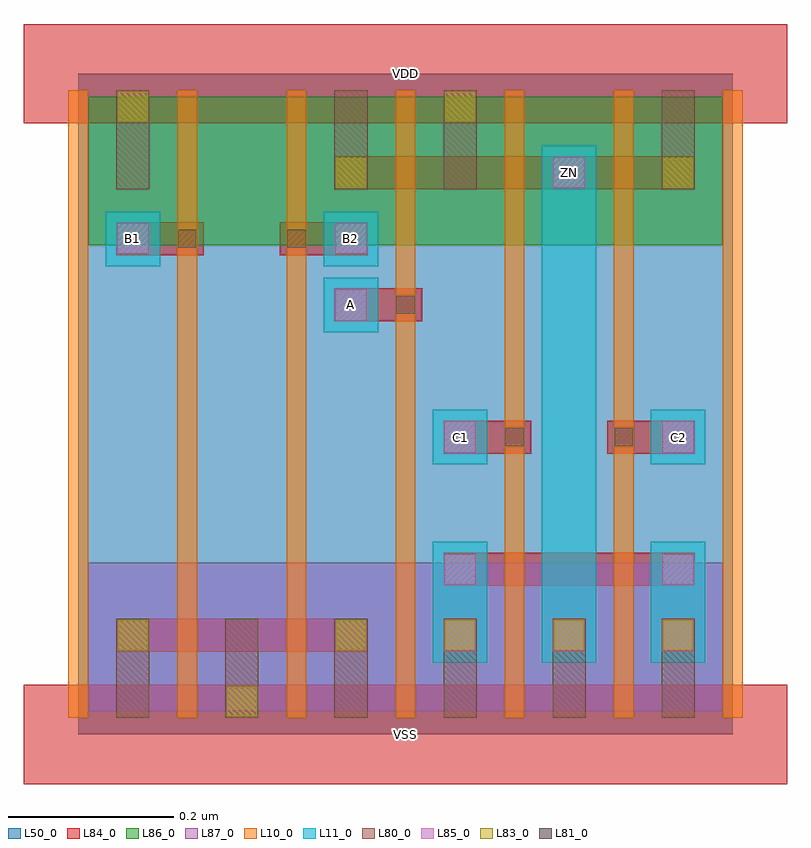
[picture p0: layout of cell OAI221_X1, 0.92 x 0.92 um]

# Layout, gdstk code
import gdstk
lib = gdstk.Library(unit=1e-6, precision=1e-09)
def R(c, l, rs):  # rectangles x0, y0, x1, y1
    for r in rs: c.add(gdstk.rectangle(r[:2], r[2:], *l))
def A(c, l, x, y, w, h, nx, ny, dx, dy):  # array of equal rectangles
    R(c, l, [(x+i*dx, y+j*dy, x+i*dx+w, y+j*dy+h) for i in range(nx) for j in range(ny)])
L10_0 = (10, 0)
L11_0 = (11, 0)
L50_0 = (50, 0)
L80_0 = (80, 0)
L81_0 = (81, 0)
L83_0 = (83, 0)
L84_0 = (84, 0)
L85_0 = (85, 0)
L86_0 = (86, 0)
L87_0 = (87, 0)

oai221_x1 = lib.new_cell('OAI221_X1')
A(oai221_x1, L10_0, -0.012, 0.02, 0.024, 0.76, 7, 1, 0.132, 0)
R(oai221_x1, L11_0, [(0.429,0.087,0.495,0.233), (0.561,0.087,0.627,0.713), (0.693,0.087,0.759,0.233), (0.429,0.327,0.495,0.393), (0.693,0.327,0.759,0.393), (0.297,0.487,0.363,0.553), (0.033,0.567,0.099,0.633), (0.297,0.567,0.363,0.633)])
R(oai221_x1, L50_0, [(0,0,0.792,0.8)])
A(oai221_x1, L80_0, 0.046, 0.02, 0.04, 0.12, 6, 1, 0.132, 0)
R(oai221_x1, L80_0, [(0.046,0.66,0.086,0.78), (0.31,0.66,0.35,0.78), (0.442,0.66,0.482,0.78), (0.706,0.66,0.746,0.78)])
R(oai221_x1, L81_0, [(0.517,0.349,0.539,0.371), (0.649,0.349,0.671,0.371), (0.385,0.509,0.407,0.531), (0.121,0.589,0.143,0.611), (0.253,0.589,0.275,0.611)])
A(oai221_x1, L83_0, 0.312, 0.102, 0.036, 0.036, 4, 1, 0.132, 0)
R(oai221_x1, L83_0, [(0.18,0.022,0.216,0.058), (0.048,0.102,0.084,0.138), (0.312,0.662,0.348,0.698), (0.708,0.662,0.744,0.698), (0.048,0.742,0.084,0.778), (0.444,0.742,0.48,0.778)])
A(oai221_x1, L84_0, 0.442, 0.1, 0.04, 0.04, 3, 1, 0.132, 0)
R(oai221_x1, L84_0, [(-0.066,-0.06,0.858,0.06), (0.046,0.1,0.35,0.14), (0.442,0.18,0.746,0.22), (0.442,0.34,0.548,0.38), (0.64,0.34,0.746,0.38), (0.31,0.5,0.416,0.54), (0.046,0.58,0.152,0.62), (0.244,0.58,0.35,0.62), (0.31,0.66,0.746,0.7), (-0.066,0.74,0.858,0.86)])
A(oai221_x1, L85_0, 0.443, 0.101, 0.038, 0.038, 3, 1, 0.132, 0)
R(oai221_x1, L85_0, [(0.443,0.181,0.481,0.219), (0.707,0.181,0.745,0.219), (0.443,0.341,0.481,0.379), (0.707,0.341,0.745,0.379), (0.311,0.501,0.349,0.539), (0.047,0.581,0.085,0.619), (0.311,0.581,0.349,0.619), (0.575,0.661,0.613,0.699)])
R(oai221_x1, L86_0, [(0.012,0.592,0.78,0.772)])
R(oai221_x1, L87_0, [(0.012,0.028,0.78,0.208)])
oai221_x1.add(gdstk.Label('VDD', (0.396,0.8), layer=88, texttype=0))
oai221_x1.add(gdstk.Label('VSS', (0.396,0), layer=88, texttype=0))
oai221_x1.add(gdstk.Label('ZN', (0.594,0.68), layer=31, texttype=0))
oai221_x1.add(gdstk.Label('A', (0.33,0.52), layer=31, texttype=0))
oai221_x1.add(gdstk.Label('C1', (0.462,0.36), layer=31, texttype=0))
oai221_x1.add(gdstk.Label('B2', (0.33,0.6), layer=31, texttype=0))
oai221_x1.add(gdstk.Label('C2', (0.726,0.36), layer=31, texttype=0))
oai221_x1.add(gdstk.Label('B1', (0.066,0.6), layer=31, texttype=0))

lib.write_gds('OAI221_X1.gds')
